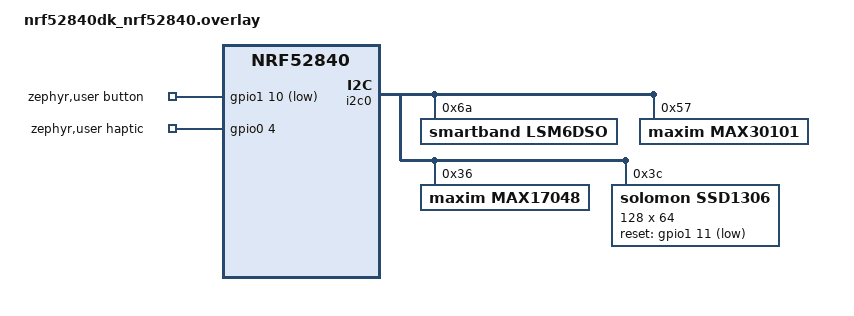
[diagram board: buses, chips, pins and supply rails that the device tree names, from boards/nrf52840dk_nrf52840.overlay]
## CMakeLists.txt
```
# SPDX-License-Identifier: Apache-2.0

cmake_minimum_required(VERSION 3.20.0)

find_package(Zephyr REQUIRED HINTS $ENV{ZEPHYR_BASE})
project(smartband LANGUAGES C)

target_sources(app PRIVATE
  src/main.c
  src/imu.c
  src/ppg.c
  src/ui.c
  ble/ble.c
  ble/gatt.c
)

target_include_directories(app PRIVATE src ble)
```

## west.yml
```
# SmartBand Zephyr workspace.
# Pin Zephyr and import only the modules the nRF52840 application needs.
# From the repository root: west update

manifest:
  remotes:
    - name: zephyrproject-rtos
      url-base: https://github.com/zephyrproject-rtos

  projects:
    - name: zephyr
      remote: zephyrproject-rtos
      revision: v4.4.2
      import:
        # Cortex-M needs cmsis_6. nRF52840 needs hal_nordic (nrfx).
        # segger is the RTT console used on the development kit.
        name-allowlist:
          - cmsis_6
          - hal_nordic
          - segger
```

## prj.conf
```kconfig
# SPDX-License-Identifier: Apache-2.0

CONFIG_GPIO=y
CONFIG_SERIAL=y
CONFIG_CONSOLE=y
CONFIG_UART_CONSOLE=y
CONFIG_PRINTK=y

CONFIG_I2C=y
CONFIG_SENSOR=y
CONFIG_FUEL_GAUGE=y
CONFIG_DISPLAY=y
CONFIG_CHARACTER_FRAMEBUFFER=y
CONFIG_CHARACTER_FRAMEBUFFER_USE_DEFAULT_FONTS=y
CONFIG_HEAP_MEM_POOL_SIZE=8192
CONFIG_FPU=y
CONFIG_SYSTEM_WORKQUEUE_STACK_SIZE=2048
CONFIG_MAIN_STACK_SIZE=1536

CONFIG_LOG=y
CONFIG_LOG_DEFAULT_LEVEL=3

CONFIG_BT=y
CONFIG_BT_PERIPHERAL=y
CONFIG_BT_DEVICE_NAME="SmartBand"
CONFIG_BT_DEVICE_APPEARANCE=193
CONFIG_BT_MAX_CONN=1
CONFIG_BT_BAS=y
CONFIG_BT_HRS=y
CONFIG_BT_DIS=y
CONFIG_BT_DIS_PNP=n
CONFIG_BT_DIS_MODEL_NUMBER_STR="SmartBand"
CONFIG_BT_DIS_MANUF_NAME_STR="SmartBand"
CONFIG_BT_DIS_FW_REV=y
CONFIG_BT_DIS_FW_REV_STR="0.4.0"
```

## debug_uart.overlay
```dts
/*
 * Route printk / the Zephyr console to UART0 instead of USB CDC.
 *
 * Promicro / Nice!Nano: P0.09 TX, P0.10 RX, 115200 8N1.
 * nRF52840 DK already uses UART0 (onboard J-Link VCOM); this overlay is
 * harmless there.
 */

/ {
	chosen {
		zephyr,console = &uart0;
		zephyr,shell-uart = &uart0;
	};
};
```

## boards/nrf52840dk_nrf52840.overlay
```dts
/*
 * SmartBand phase 3 on the nRF52840 DK Arduino header.
 *
 * I2C is the kit's arduino_i2c (i2c0): P0.26 SDA (D14), P0.27 SCL (D15).
 * The rev A sheet labels those pins the other way around (P0.26 SCL, P0.27 SDA).
 * This overlay follows the development kit so a breakout plugged into the
 * Arduino header enumerates. A product-board overlay should follow the sheet.
 *
 * P0.11 and P0.12 are the sheet's IMU and PPG interrupts, and they are also
 * the kit's BUTTON1 and BUTTON2, so those interrupts are not wired here.
 * Polling does not need them.
 *
 * Wiring:
 *   3V3, GND
 *   D14 SDA, D15 SCL: LSM6DSO (0x6A, SDO/SA0 low, CS high),
 *                     MAX30102 (0x57), MAX17048 (0x36), SSD1306 (0x3C)
 *   D8  P1.10  button to GND
 *   D9  P1.11  OLED reset, active low
 *   A1  P0.04  haptic MOSFET gate, active high
 */

/ {
	chosen {
		zephyr,display = &ssd1306;
	};

	aliases {
		fuel-gauge0 = &max17048;
		heart-rate-sensor = &max30101;
	};

	zephyr,user {
		button-gpios = <&gpio1 10 (GPIO_PULL_UP | GPIO_ACTIVE_LOW)>;
		haptic-gpios = <&gpio0 4 GPIO_ACTIVE_HIGH>;
	};
};

&i2c0 {
	lsm6dso: lsm6dso@6a {
		compatible = "smartband,lsm6dso";
		reg = <0x6a>;
		status = "okay";
	};

	max30101: max30101@57 {
		compatible = "maxim,max30101";
		reg = <0x57>;
		status = "okay";
		/* Red LED only. MAX30102 has no green LED. SpO2 stays off. */
		acq-mode = "heart-rate";
		smp-ave = <1>;
		smp-sr = <100>;
		led-pw = <215>;
		adc-rge = <4096>;
		/* About 12 mA on the red LED. IR and green stay off. */
		led-pa = [3f 00 00];
		fifo-rollover-en;
	};

	max17048: max17048@36 {
		compatible = "maxim,max17048";
		reg = <0x36>;
		status = "okay";
	};

	ssd1306: ssd1306@3c {
		compatible = "solomon,ssd1306";
		reg = <0x3c>;
		width = <128>;
		height = <64>;
		segment-offset = <0>;
		page-offset = <0>;
		display-offset = <0>;
		multiplex-ratio = <63>;
		segment-remap;
		com-invdir;
		prechargep = <0x22>;
		reset-gpios = <&gpio1 11 GPIO_ACTIVE_LOW>;
	};
};
```

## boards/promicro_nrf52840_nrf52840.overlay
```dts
/*
 * SmartBand sensors on a Pro Micro / Nice!Nano-style nRF52840.
 *
 * Keep I2C. Do not move these parts onto SPI: MAX30102 and MAX17048 have
 * no SPI interface, and imu.c / the OLED node talk I2C.
 *
 * Bus is the board's i2c0 (promicro_nrf52840-pinctrl.dtsi):
 *   P1.00 SDA, P0.11 SCL
 *
 * Header GPIOs that exist on Nice!Nano / SuperMini clones:
 *   P1.13  button to GND
 *   P1.11  OLED reset, active low
 *   P0.24  haptic MOSFET gate, active high
 *
 * DK P1.10 and P0.04 are not on this header, so they are not reused.
 *
 * Wiring:
 *   3V3, GND
 *   P1.00 SDA, P0.11 SCL, plus 4.7 kΩ pull-ups to 3V3
 *   LSM6DSO (0x6A, SDO/SA0 low, CS tied to VDD),
 *   MAX30102 (0x57), MAX17048 (0x36), SSD1306 (0x3C)
 */

/ {
	chosen {
		zephyr,display = &ssd1306;
	};

	aliases {
		fuel-gauge0 = &max17048;
		heart-rate-sensor = &max30101;
	};

	zephyr,user {
		button-gpios = <&gpio1 13 (GPIO_PULL_UP | GPIO_ACTIVE_LOW)>;
		haptic-gpios = <&gpio0 24 GPIO_ACTIVE_HIGH>;
	};
};

&i2c0 {
	lsm6dso: lsm6dso@6a {
		compatible = "smartband,lsm6dso";
		reg = <0x6a>;
		status = "okay";
	};

	max30101: max30101@57 {
		compatible = "maxim,max30101";
		reg = <0x57>;
		status = "okay";
		acq-mode = "heart-rate";
		smp-ave = <1>;
		smp-sr = <100>;
		led-pw = <215>;
		adc-rge = <4096>;
		led-pa = [3f 00 00];
		fifo-rollover-en;
	};

	max17048: max17048@36 {
		compatible = "maxim,max17048";
		reg = <0x36>;
		status = "okay";
	};

	ssd1306: ssd1306@3c {
		compatible = "solomon,ssd1306";
		reg = <0x3c>;
		width = <128>;
		height = <64>;
		segment-offset = <0>;
		page-offset = <0>;
		display-offset = <0>;
		multiplex-ratio = <63>;
		segment-remap;
		com-invdir;
		prechargep = <0x22>;
		reset-gpios = <&gpio1 11 GPIO_ACTIVE_LOW>;
	};
};
```

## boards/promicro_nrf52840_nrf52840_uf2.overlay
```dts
/*
 * Same sensor map as the SWD Promicro target. The UF2 variant only
 * changes the flash layout (Adafruit bootloader).
 *
 * Bus: i2c0 P1.00 SDA, P0.11 SCL. Button P1.13, OLED reset P1.11,
 * haptic P0.24.
 */

/ {
	chosen {
		zephyr,display = &ssd1306;
	};

	aliases {
		fuel-gauge0 = &max17048;
		heart-rate-sensor = &max30101;
	};

	zephyr,user {
		button-gpios = <&gpio1 13 (GPIO_PULL_UP | GPIO_ACTIVE_LOW)>;
		haptic-gpios = <&gpio0 24 GPIO_ACTIVE_HIGH>;
	};
};

&i2c0 {
	lsm6dso: lsm6dso@6a {
		compatible = "smartband,lsm6dso";
		reg = <0x6a>;
		status = "okay";
	};

	max30101: max30101@57 {
		compatible = "maxim,max30101";
		reg = <0x57>;
		status = "okay";
		acq-mode = "heart-rate";
		smp-ave = <1>;
		smp-sr = <100>;
		led-pw = <215>;
		adc-rge = <4096>;
		led-pa = [3f 00 00];
		fifo-rollover-en;
	};

	max17048: max17048@36 {
		compatible = "maxim,max17048";
		reg = <0x36>;
		status = "okay";
	};

	ssd1306: ssd1306@3c {
		compatible = "solomon,ssd1306";
		reg = <0x3c>;
		width = <128>;
		height = <64>;
		segment-offset = <0>;
		page-offset = <0>;
		display-offset = <0>;
		multiplex-ratio = <63>;
		segment-remap;
		com-invdir;
		prechargep = <0x22>;
		reset-gpios = <&gpio1 11 GPIO_ACTIVE_LOW>;
	};
};
```

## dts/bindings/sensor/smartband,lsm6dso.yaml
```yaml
# Copyright (c) 2026 SmartBand
# SPDX-License-Identifier: Apache-2.0

description: |
  LSM6DSO accelerometer on the SmartBand I2C bus. The application reads this
  node directly. The Zephyr ST driver is not used, because that driver needs
  the hal_st module.

compatible: "smartband,lsm6dso"

include: [i2c-device.yaml]
```

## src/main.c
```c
/*
 * SPDX-License-Identifier: Apache-2.0
 *
 * SmartBand sensors plus a BLE GATT peripheral.
 * Board overlay selects the I2C map: nRF52840 DK Arduino header, or
 * Pro Micro nRF52840 i2c0 (P1.00 SDA, P0.11 SCL).
 */

#include "band.h"
#include "ble.h"

#include <zephyr/drivers/gpio.h>
#include <zephyr/kernel.h>

#define LED0_NODE DT_ALIAS(led0)

static const struct gpio_dt_spec led = GPIO_DT_SPEC_GET(LED0_NODE, gpios);

struct band_metrics band = {
	.battery_pct = -1,
};

void band_init(void)
{
	k_mutex_init(&band.lock);
}

int main(void)
{
	bool led_ready = false;

	printk("SmartBand sensors and BLE\n");
	band_init();

	if (gpio_is_ready_dt(&led) && gpio_pin_configure_dt(&led, GPIO_OUTPUT_INACTIVE) == 0) {
		led_ready = true;
	}

	imu_start();
	ppg_start();
	ui_start();
	(void)ble_start();

	while (1) {
		if (led_ready) {
			(void)gpio_pin_toggle_dt(&led);
		}
		k_msleep(1000);
	}

	return 0;
}
```

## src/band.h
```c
/*
 * SPDX-License-Identifier: Apache-2.0
 *
 * Shared metrics for the phase-3 sensor slice.
 */

#ifndef BAND_H_
#define BAND_H_

#include <stdbool.h>
#include <stdint.h>

#include <zephyr/kernel.h>

struct band_metrics {
	struct k_mutex lock;
	uint32_t steps;
	bool moving;
	int hr_bpm;
	bool hr_present;
	bool hr_motion;
	int battery_pct;
};

extern struct band_metrics band;

void band_init(void);
void imu_start(void);
void ppg_start(void);
void ui_start(void);

#endif
```

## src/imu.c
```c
/*
 * SPDX-License-Identifier: Apache-2.0
 *
 * LSM6DSO accelerometer at 26 Hz and a peak step counter.
 * Gyro stays off. The ST Zephyr driver needs hal_st, which this tree does
 * not vendor, so the registers are programmed from the application.
 */

#include "band.h"

#include <math.h>
#include <stdlib.h>

#include <zephyr/device.h>
#include <zephyr/devicetree.h>
#include <zephyr/drivers/i2c.h>
#include <zephyr/kernel.h>
#include <zephyr/sys/printk.h>

#define LSM6DSO_REG_WHOAMI  0x0F
#define LSM6DSO_WHOAMI      0x6C
#define LSM6DSO_REG_CTRL1_XL 0x10
#define LSM6DSO_REG_CTRL2_G  0x11
#define LSM6DSO_REG_CTRL3_C  0x12
#define LSM6DSO_REG_CTRL6_C  0x15
#define LSM6DSO_REG_STATUS   0x1E
#define LSM6DSO_REG_OUTX_L_A 0x28

/* 26 Hz, ±2 g. XL_HM_MODE = 1 selects the low-power accelerometer path. */
#define LSM6DSO_CTRL1_26HZ_2G 0x20
#define LSM6DSO_CTRL3_BDU_INC 0x44
#define LSM6DSO_CTRL6_LP      0x10

/* 1 LSB at ±2 g is 0.061 mg, about 0.598 mm/s^2. */
#define LSM6DSO_MM_S2_NUM 598
#define LSM6DSO_MM_S2_DEN 1000

#define STEP_PEAK_MM_S2     1200
#define STEP_REARM_MM_S2    400
#define STEP_MIN_INTERVAL_MS 300
#define MOVE_MM_S2          400
#define IMU_PERIOD_MS       38

#if DT_HAS_COMPAT_STATUS_OKAY(smartband_lsm6dso)

static const struct i2c_dt_spec imu_i2c =
	I2C_DT_SPEC_GET(DT_COMPAT_GET_ANY_STATUS_OKAY(smartband_lsm6dso));

static int32_t raw_to_mm_s2(int16_t raw)
{
	return ((int32_t)raw * LSM6DSO_MM_S2_NUM) / LSM6DSO_MM_S2_DEN;
}

static int imu_configure(void)
{
	uint8_t who = 0;
	int ret;

	if (!i2c_is_ready_dt(&imu_i2c)) {
		printk("IMU bus is not ready\n");
		return -ENODEV;
	}

	ret = i2c_reg_read_byte_dt(&imu_i2c, LSM6DSO_REG_WHOAMI, &who);
	if (ret < 0) {
		printk("IMU whoami read failed: %d\n", ret);
		return ret;
	}
	if (who != LSM6DSO_WHOAMI) {
		printk("IMU whoami 0x%02x, expected 0x%02x\n", who, LSM6DSO_WHOAMI);
		return -ENODEV;
	}

	ret = i2c_reg_write_byte_dt(&imu_i2c, LSM6DSO_REG_CTRL3_C, LSM6DSO_CTRL3_BDU_INC);
	if (ret == 0) {
		ret = i2c_reg_write_byte_dt(&imu_i2c, LSM6DSO_REG_CTRL2_G, 0x00);
	}
	if (ret == 0) {
		ret = i2c_reg_write_byte_dt(&imu_i2c, LSM6DSO_REG_CTRL6_C, LSM6DSO_CTRL6_LP);
	}
	if (ret == 0) {
		ret = i2c_reg_write_byte_dt(&imu_i2c, LSM6DSO_REG_CTRL1_XL, LSM6DSO_CTRL1_26HZ_2G);
	}
	if (ret < 0) {
		printk("IMU configure failed: %d\n", ret);
		return ret;
	}

	printk("LSM6DSO accel 26 Hz, gyro off\n");
	return 0;
}

static int imu_read(int32_t *x, int32_t *y, int32_t *z)
{
	uint8_t status = 0;
	uint8_t raw[6];
	int16_t sx, sy, sz;
	int ret;

	ret = i2c_reg_read_byte_dt(&imu_i2c, LSM6DSO_REG_STATUS, &status);
	if (ret < 0) {
		return ret;
	}
	if ((status & BIT(0)) == 0) {
		return -EAGAIN;
	}

	ret = i2c_burst_read_dt(&imu_i2c, LSM6DSO_REG_OUTX_L_A, raw, sizeof(raw));
	if (ret < 0) {
		return ret;
	}

	sx = (int16_t)((raw[1] << 8) | raw[0]);
	sy = (int16_t)((raw[3] << 8) | raw[2]);
	sz = (int16_t)((raw[5] << 8) | raw[4]);
	*x = raw_to_mm_s2(sx);
	*y = raw_to_mm_s2(sy);
	*z = raw_to_mm_s2(sz);
	return 0;
}

static void imu_thread(void *p1, void *p2, void *p3)
{
	int32_t grav = 0;
	bool grav_ready = false;
	bool step_armed = true;
	uint8_t move_hold = 0;
	int64_t last_step_ms = 0;
	uint32_t ticks = 0;
	int ret;

	ARG_UNUSED(p1);
	ARG_UNUSED(p2);
	ARG_UNUSED(p3);

	ret = imu_configure();
	if (ret < 0) {
		printk("IMU absent, step counter idle\n");
		return;
	}

	while (1) {
		int32_t x, y, z, dyn, mag_i;
		float mag;
		bool moving;
		uint32_t steps = 0;
		bool stepped = false;

		ret = imu_read(&x, &y, &z);
		if (ret == -EAGAIN) {
			k_msleep(5);
			continue;
		}
		if (ret < 0) {
			printk("IMU read failed: %d\n", ret);
			k_msleep(IMU_PERIOD_MS);
			continue;
		}

		mag = sqrtf((float)x * (float)x + (float)y * (float)y + (float)z * (float)z);
		mag_i = (int32_t)mag;
		if (!grav_ready) {
			grav = mag_i;
			grav_ready = true;
		} else {
			grav += (mag_i - grav) / 16;
		}
		dyn = mag_i - grav;

		if (abs(dyn) > MOVE_MM_S2) {
			move_hold = 8;
		} else if (move_hold > 0) {
			move_hold--;
		}
		moving = move_hold > 0;

		if (step_armed && dyn > STEP_PEAK_MM_S2) {
			int64_t now = k_uptime_get();

			if ((now - last_step_ms) >= STEP_MIN_INTERVAL_MS) {
				last_step_ms = now;
				stepped = true;
			}
			step_armed = false;
		} else if (dyn < STEP_REARM_MM_S2) {
			step_armed = true;
		}

		k_mutex_lock(&band.lock, K_FOREVER);
		if (stepped) {
			band.steps++;
		}
		band.moving = moving;
		steps = band.steps;
		k_mutex_unlock(&band.lock);

		ticks++;
		if (stepped || (ticks % 26) == 0) {
			printk("accel %d %d %d mm/s2 steps %u%s\n", x, y, z, steps,
			       moving ? " moving" : "");
		}

		k_msleep(IMU_PERIOD_MS);
	}
}

static K_THREAD_STACK_DEFINE(imu_stack, 1536);
static struct k_thread imu_thread_data;

void imu_start(void)
{
	k_thread_create(&imu_thread_data, imu_stack, K_THREAD_STACK_SIZEOF(imu_stack),
			imu_thread, NULL, NULL, NULL, K_PRIO_PREEMPT(7), 0, K_NO_WAIT);
	k_thread_name_set(&imu_thread_data, "imu");
}

#else

void imu_start(void)
{
	printk("IMU node is not in this board\n");
}

#endif
```

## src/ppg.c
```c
/*
 * SPDX-License-Identifier: Apache-2.0
 *
 * Seated heart-rate burst from the MAX30102 red LED.
 * The Zephyr MAX30101 driver owns the chip (same part id, red channel).
 * Samples taken while the IMU reports motion are kept and marked, not dropped.
 */

#include "band.h"

#include <zephyr/device.h>
#include <zephyr/devicetree.h>
#include <zephyr/drivers/i2c.h>
#include <zephyr/drivers/sensor.h>
#include <zephyr/kernel.h>
#include <zephyr/sys/printk.h>

#define PPG_REG_INT_STS1 0x00
#define PPG_REG_FIFO_WR  0x04
#define PPG_REG_FIFO_RD  0x06
#define PPG_REG_MODE_CFG 0x09
#define PPG_INT_PPG_RDY  BIT(6)
#define PPG_MODE_HR      0x02
#define PPG_MODE_SHDN    0x80

#define PPG_FIRST_DELAY_MS  3000
#define PPG_PERIOD_MS       (5 * 60 * 1000)
#define PPG_BURST_MS        20000
#define PPG_SETTLE_MS       1000
#define PPG_MIN_INTERVAL_MS 333
#define PPG_MAX_INTERVAL_MS 1500
#define PPG_MIN_PEAKS       6
#define PPG_MAX_INTERVALS   48

#if DT_HAS_COMPAT_STATUS_OKAY(maxim_max30101)

static const struct i2c_dt_spec ppg_i2c =
	I2C_DT_SPEC_GET(DT_COMPAT_GET_ANY_STATUS_OKAY(maxim_max30101));
static const struct device *const ppg_dev = DEVICE_DT_GET(
	DT_COMPAT_GET_ANY_STATUS_OKAY(maxim_max30101));

static int ppg_mode(uint8_t mode)
{
	return i2c_reg_write_byte_dt(&ppg_i2c, PPG_REG_MODE_CFG, mode);
}

static int ppg_fifo_reset(void)
{
	int ret;

	ret = i2c_reg_write_byte_dt(&ppg_i2c, PPG_REG_FIFO_WR, 0x00);
	if (ret == 0) {
		ret = i2c_reg_write_byte_dt(&ppg_i2c, PPG_REG_FIFO_RD, 0x00);
	}
	return ret;
}

static int interval_median(int *values, int count)
{
	for (int i = 1; i < count; i++) {
		int v = values[i];
		int j = i;

		while (j > 0 && values[j - 1] > v) {
			values[j] = values[j - 1];
			j--;
		}
		values[j] = v;
	}

	return values[count / 2];
}

static int ppg_burst(void)
{
	int intervals[PPG_MAX_INTERVALS];
	int n_intervals = 0;
	int samples = 0;
	int moving_samples = 0;
	int32_t dc = 0;
	int32_t prev_ac = 0;
	int32_t env = 0;
	bool rising = false;
	bool dc_ready = false;
	int64_t last_peak_ms = 0;
	int64_t start;
	int ret;

	ret = ppg_mode(PPG_MODE_HR);
	if (ret < 0) {
		return ret;
	}
	ret = ppg_fifo_reset();
	if (ret < 0) {
		return ret;
	}

	k_msleep(PPG_SETTLE_MS);
	start = k_uptime_get();

	while ((k_uptime_get() - start) < PPG_BURST_MS) {
		uint8_t status = 0;
		struct sensor_value red;
		int32_t sample, ac;
		bool moving;
		int64_t now;

		ret = i2c_reg_read_byte_dt(&ppg_i2c, PPG_REG_INT_STS1, &status);
		if (ret < 0) {
			break;
		}
		if ((status & PPG_INT_PPG_RDY) == 0) {
			k_msleep(2);
			continue;
		}

		ret = sensor_sample_fetch(ppg_dev);
		if (ret < 0) {
			break;
		}
		ret = sensor_channel_get(ppg_dev, SENSOR_CHAN_RED, &red);
		if (ret < 0) {
			break;
		}

		sample = red.val1;
		samples++;
		if (!dc_ready) {
			dc = sample;
			dc_ready = true;
			prev_ac = 0;
			continue;
		}
		dc += (sample - dc) / 32;
		ac = sample - dc;
		if (ac > env) {
			env = ac;
		} else {
			env -= env / 64;
		}

		k_mutex_lock(&band.lock, K_FOREVER);
		moving = band.moving;
		k_mutex_unlock(&band.lock);
		if (moving) {
			moving_samples++;
		}

		now = k_uptime_get();
		if (ac > prev_ac && ac > (env / 3) && ac > 200) {
			rising = true;
		} else if (rising && ac < prev_ac) {
			int64_t dt = now - last_peak_ms;

			rising = false;
			if (last_peak_ms != 0 && dt >= PPG_MIN_INTERVAL_MS &&
			    dt <= PPG_MAX_INTERVAL_MS && n_intervals < PPG_MAX_INTERVALS) {
				intervals[n_intervals++] = (int)dt;
			}
			last_peak_ms = now;
		}
		prev_ac = ac;
	}

	(void)ppg_mode(PPG_MODE_SHDN);

	if (ret < 0) {
		printk("PPG burst failed: %d\n", ret);
		return ret;
	}

	{
		bool motion = samples > 0 && (moving_samples * 4) >= samples;
		int bpm = 0;
		bool present = false;

		if (n_intervals >= PPG_MIN_PEAKS) {
			int median = interval_median(intervals, n_intervals);

			bpm = 60000 / median;
			present = true;
		}

		k_mutex_lock(&band.lock, K_FOREVER);
		band.hr_bpm = bpm;
		band.hr_present = present;
		band.hr_motion = motion;
		k_mutex_unlock(&band.lock);

		if (!present) {
			printk("HR none after %d samples, %d peaks%s\n", samples, n_intervals,
			       motion ? " (motion)" : "");
		} else {
			printk("HR %d bpm%s\n", bpm, motion ? " (motion)" : "");
		}
	}

	return 0;
}

static void ppg_thread(void *p1, void *p2, void *p3)
{
	ARG_UNUSED(p1);
	ARG_UNUSED(p2);
	ARG_UNUSED(p3);

	if (!device_is_ready(ppg_dev)) {
		printk("PPG absent, heart-rate burst idle\n");
		return;
	}

	/* The driver leaves the red LED running. Hold it off between bursts. */
	if (ppg_mode(PPG_MODE_SHDN) < 0) {
		printk("PPG shutdown failed\n");
		return;
	}
	printk("PPG red LED off until the first burst\n");

	k_msleep(PPG_FIRST_DELAY_MS);

	while (1) {
		(void)ppg_burst();
		k_msleep(PPG_PERIOD_MS);
	}
}

static K_THREAD_STACK_DEFINE(ppg_stack, 2048);
static struct k_thread ppg_thread_data;

void ppg_start(void)
{
	k_thread_create(&ppg_thread_data, ppg_stack, K_THREAD_STACK_SIZEOF(ppg_stack),
			ppg_thread, NULL, NULL, NULL, K_PRIO_PREEMPT(8), 0, K_NO_WAIT);
	k_thread_name_set(&ppg_thread_data, "ppg");
}

#else

void ppg_start(void)
{
	printk("PPG node is not in this board\n");
}

#endif
```

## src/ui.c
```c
/*
 * SPDX-License-Identifier: Apache-2.0
 *
 * OLED, the user button, and a short haptic tap.
 * The panel stays blank until the button wakes it, then sleeps again.
 */

#include "band.h"

#include <stdio.h>

#include <zephyr/device.h>
#include <zephyr/devicetree.h>
#include <zephyr/display/cfb.h>
#include <zephyr/drivers/display.h>
#include <zephyr/drivers/fuel_gauge.h>
#include <zephyr/drivers/gpio.h>
#include <zephyr/kernel.h>
#include <zephyr/sys/printk.h>

#define UI_AWAKE_MS    8000
#define UI_POLL_MS     20
#define UI_DRAW_MS     250
#define UI_BATTERY_MS  30000
#define HAPTIC_MS      80

#if DT_NODE_EXISTS(DT_PATH(zephyr_user)) && DT_NODE_HAS_PROP(DT_PATH(zephyr_user), button_gpios)
static const struct gpio_dt_spec button =
	GPIO_DT_SPEC_GET(DT_PATH(zephyr_user), button_gpios);
#endif

#if DT_NODE_EXISTS(DT_PATH(zephyr_user)) && DT_NODE_HAS_PROP(DT_PATH(zephyr_user), haptic_gpios)
static const struct gpio_dt_spec haptic =
	GPIO_DT_SPEC_GET(DT_PATH(zephyr_user), haptic_gpios);
#endif

#if DT_HAS_CHOSEN(zephyr_display)
static const struct device *const display = DEVICE_DT_GET(DT_CHOSEN(zephyr_display));
#endif

#if DT_HAS_ALIAS(fuel_gauge0)
static const struct device *const gauge = DEVICE_DT_GET(DT_ALIAS(fuel_gauge0));
#endif

static void haptic_pulse(void)
{
#if DT_NODE_EXISTS(DT_PATH(zephyr_user)) && DT_NODE_HAS_PROP(DT_PATH(zephyr_user), haptic_gpios)
	if (!gpio_is_ready_dt(&haptic)) {
		return;
	}
	gpio_pin_set_dt(&haptic, 1);
	k_msleep(HAPTIC_MS);
	gpio_pin_set_dt(&haptic, 0);
	printk("haptic tap\n");
#else
	printk("haptic pin is not configured\n");
#endif
}

static void battery_read(void)
{
#if DT_HAS_ALIAS(fuel_gauge0)
	union fuel_gauge_prop_val val;
	int ret;
	int pct;

	if (!device_is_ready(gauge)) {
		return;
	}

	ret = fuel_gauge_get_prop(gauge, FUEL_GAUGE_RELATIVE_STATE_OF_CHARGE, &val);
	if (ret < 0) {
		printk("battery read failed: %d\n", ret);
		return;
	}

	pct = val.relative_state_of_charge;
	k_mutex_lock(&band.lock, K_FOREVER);
	band.battery_pct = pct;
	k_mutex_unlock(&band.lock);
#else
	return;
#endif
}

static void format_lines(char lines[][20], int *hr_bpm, bool *hr_present, bool *hr_motion)
{
	uint32_t steps;
	int battery;
	int64_t uptime;
	uint32_t secs, mins, hours;

	k_mutex_lock(&band.lock, K_FOREVER);
	steps = band.steps;
	*hr_bpm = band.hr_bpm;
	*hr_present = band.hr_present;
	*hr_motion = band.hr_motion;
	battery = band.battery_pct;
	k_mutex_unlock(&band.lock);

	uptime = k_uptime_get() / 1000;
	secs = (uint32_t)(uptime % 60);
	mins = (uint32_t)((uptime / 60) % 60);
	hours = (uint32_t)((uptime / 3600) % 100);

	snprintf(lines[0], sizeof(lines[0]), "%02u:%02u:%02u", hours, mins, secs);
	snprintf(lines[1], sizeof(lines[1]), "steps %u", steps);
	if (!*hr_present) {
		snprintf(lines[2], sizeof(lines[2]), "HR --");
	} else if (*hr_motion) {
		snprintf(lines[2], sizeof(lines[2]), "HR %d mov", *hr_bpm);
	} else {
		snprintf(lines[2], sizeof(lines[2]), "HR %d", *hr_bpm);
	}
	if (battery < 0) {
		snprintf(lines[3], sizeof(lines[3]), "bat --");
	} else {
		snprintf(lines[3], sizeof(lines[3]), "bat %d%%", battery);
	}
}

static void ui_thread(void *p1, void *p2, void *p3)
{
	bool awake = false;
	bool button_ready = false;
	bool display_ready = false;
	int last_level = 1;
	int64_t awake_until = 0;
	int64_t next_draw = 0;
	int64_t next_battery = 0;
	uint8_t font_h = 16;
	int debounce = 0;

	ARG_UNUSED(p1);
	ARG_UNUSED(p2);
	ARG_UNUSED(p3);

#if DT_NODE_EXISTS(DT_PATH(zephyr_user)) && DT_NODE_HAS_PROP(DT_PATH(zephyr_user), button_gpios)
	if (gpio_is_ready_dt(&button) &&
	    gpio_pin_configure_dt(&button, GPIO_INPUT) == 0) {
		button_ready = true;
	} else {
		printk("button is not ready\n");
	}
#endif

#if DT_NODE_EXISTS(DT_PATH(zephyr_user)) && DT_NODE_HAS_PROP(DT_PATH(zephyr_user), haptic_gpios)
	if (!gpio_is_ready_dt(&haptic) ||
	    gpio_pin_configure_dt(&haptic, GPIO_OUTPUT_INACTIVE) < 0) {
		printk("haptic pin is not ready\n");
	}
#endif

#if DT_HAS_CHOSEN(zephyr_display)
	if (device_is_ready(display) && cfb_framebuffer_init(display) == 0) {
		uint8_t width = 0;

		display_ready = true;
		(void)cfb_get_font_size(display, 0, &width, &font_h);
		(void)cfb_framebuffer_set_font(display, 0);
		(void)display_blanking_on(display);
		printk("OLED asleep until the button\n");
	} else {
		printk("OLED absent, metrics stay on the console\n");
	}
#else
	printk("OLED node is not in this board\n");
#endif

	while (1) {
		int64_t now = k_uptime_get();
		char lines[4][20];
		int hr_bpm = 0;
		bool hr_present = false;
		bool hr_motion = false;

		if (button_ready) {
			int level = gpio_pin_get_dt(&button);

			if (level < 0) {
				level = 1;
			}
			if (level == 0 && last_level == 1) {
				debounce++;
				if (debounce >= 2) {
					awake = true;
					awake_until = now + UI_AWAKE_MS;
					last_level = 0;
					debounce = 0;
#if DT_HAS_CHOSEN(zephyr_display)
					if (display_ready) {
						(void)display_blanking_off(display);
					}
#endif
					haptic_pulse();
					next_draw = now;
				}
			} else if (level != 0) {
				debounce = 0;
				last_level = 1;
			}
		}

		if (awake && now >= awake_until) {
			awake = false;
#if DT_HAS_CHOSEN(zephyr_display)
			if (display_ready) {
				(void)display_blanking_on(display);
				printk("OLED asleep\n");
			}
#endif
		}

		if (now >= next_battery) {
			battery_read();
			next_battery = now + UI_BATTERY_MS;
		}

		if (now >= next_draw) {
			format_lines(lines, &hr_bpm, &hr_present, &hr_motion);
			if (!display_ready) {
				printk("%s  %s  %s  %s\n", lines[0], lines[1], lines[2], lines[3]);
			}
#if DT_HAS_CHOSEN(zephyr_display)
			else if (awake) {
				(void)cfb_framebuffer_clear(display, false);
				for (int i = 0; i < 4; i++) {
					(void)cfb_print(display, lines[i], 0, i * font_h);
				}
				(void)cfb_framebuffer_finalize(display);
			}
#endif
			next_draw = now + (display_ready ? UI_DRAW_MS : 1000);
		}

		k_msleep(UI_POLL_MS);
	}
}

static K_THREAD_STACK_DEFINE(ui_stack, 2048);
static struct k_thread ui_thread_data;

void ui_start(void)
{
	k_thread_create(&ui_thread_data, ui_stack, K_THREAD_STACK_SIZEOF(ui_stack),
			ui_thread, NULL, NULL, NULL, K_PRIO_PREEMPT(9), 0, K_NO_WAIT);
	k_thread_name_set(&ui_thread_data, "ui");
}
```
